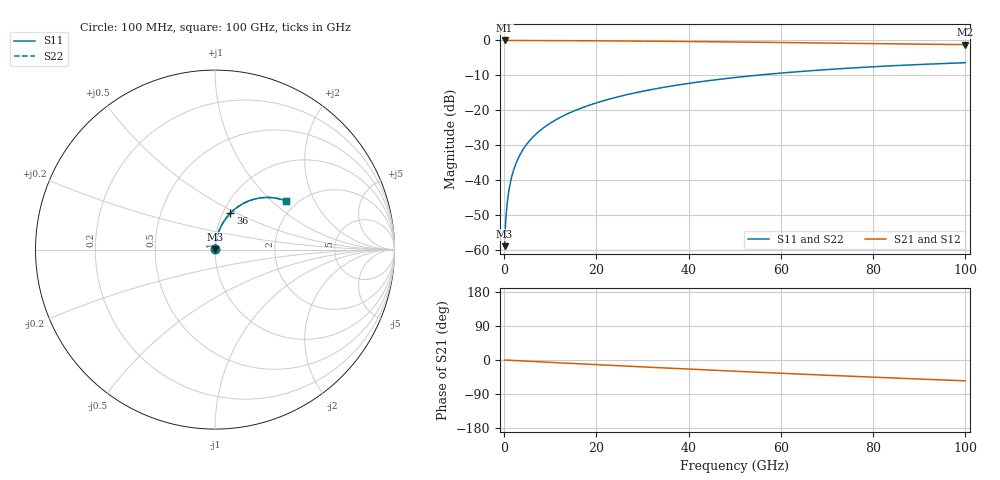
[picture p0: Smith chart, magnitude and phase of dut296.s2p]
! Touchstone file exported from HFSS 2026.1.0
!  File:  C:/ffzhzh/LocalFiles/Ansys_Project_Files/temp_train_RDL_296_1783502274_31944.aedt
!  Generated:  05:19:07 PM Jul  8, 2026
!  Design:  RDL
!  Project:  temp_train_RDL_296_1783502274_31944
! Variables:
!  h_bsmrdl = 2um
!  h_ox = 20um
!  h_rdl = 5um
!  h_sub = 80um
!  h_tmrdl = 4.17um
!  h_tsv = 80um
!  h_via = 3um
!  l_bsmrdl = 300um
!  l_sub = 545.97um
!  l_tmrdl = 145.97um
!  m_sub = 200um
!  pitch = 41.63um
!  r_tsv = 6um
!  s_tmrdl = 10um
!  w_bsmrdl = 18um
!  w_sub = 500um
!  w_tmrdl = 17.54um
!  x_tsv_center1 = 154.74um
!  x_tsv_center2 = 472.74um
!  x_tsv_center3 = 636.25um
!  x_tsv_center4 = 954.25um
!  x_tsv_center5 = 1117.76um
!  x_tsv_center6 = 1435.76um
# GHz S MA R 50.000000
! Terminal data exported
! Port[1] = TM_RDL1_1_T1
! Port[2] = TM_RDL1_1_T2
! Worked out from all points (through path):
!   1000 points, 100 MHz to 100 GHz, reference 50 ohm
!   highest |S21| = -0.01 dB at 100 MHz (marker M1); lowest = -1.2 dB at 100 GHz (marker M2)
!   group delay of S21, straight-line fit = 1.53 ps
!   lowest |S11| = -58.9 dB at 100 MHz (marker M3), VSWR 1.00, Z = 50.1 + j0.0727 ohm
!   |S11| at or under -10 dB: start of sweep to 54.6 GHz
!   |S22| runs from -58.9 to -6.4 dB; largest |S21 - S12| = 6.1e-15
!   S11 on the Smith chart (normalised r, x): 100 MHz: 1.00, +0.00; 36 GHz: 1.09, +0.46; 100 GHz: 1.76, +1.24
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0.1  0.001134 39.8  0.9991 -0.1  0.9991 -0.1  0.001134 39.8
! Gamma 0 0 0 0
! Port Impedance 50 0 50 0
0.3  0.002322 65.9  0.9991 -0.2  0.9991 -0.2  0.002322 65.9
0.7  0.004913 77.5  0.999 -0.4  0.999 -0.4  0.004913 77.5
0.9  0.00623 79.7  0.9989 -0.6  0.9989 -0.6  0.00623 79.7
1.2  0.008221 81.6  0.9989 -0.8  0.9989 -0.8  0.008221 81.6
1.5  0.01022 82.7  0.9988 -1.0  0.9988 -1.0  0.01022 82.7
2  0.01356 83.7  0.9987 -1.3  0.9987 -1.3  0.01356 83.7
2.5  0.01689 84.1  0.9986 -1.6  0.9986 -1.6  0.01689 84.1
3.2  0.02154 84.3  0.9984 -2.0  0.9984 -2.0  0.02154 84.3
4  0.02682 84.2  0.9981 -2.5  0.9981 -2.5  0.02682 84.2
5  0.03337 83.9  0.9977 -3.1  0.9977 -3.1  0.03337 83.9
6.1  0.04052 83.4  0.9972 -3.8  0.9972 -3.8  0.04052 83.4
8.9  0.05849 82.0  0.9958 -5.5  0.9958 -5.5  0.05849 82.0
12.4  0.08063 80.1  0.9937 -7.7  0.9937 -7.7  0.08063 80.1
16.8  0.108 77.8  0.9906 -10.3  0.9906 -10.3  0.108 77.7
24.2  0.1529 73.6  0.984 -14.8  0.984 -14.8  0.1529 73.6
33.4  0.2064 68.5  0.9735 -20.2  0.9735 -20.2  0.2064 68.4
36  0.2209 67.0  0.9702 -21.7  0.9702 -21.7  0.2209 67.0
50.1  0.2946 59.2  0.9498 -29.7  0.9498 -29.7  0.2946 59.2
66.7  0.3695 50.5  0.9229 -38.6  0.9229 -38.6  0.3695 50.4
83.4  0.4313 42.1  0.8955 -47.0  0.8955 -47.0  0.4313 42.1
100  0.4795 34.3  0.8706 -55.0  0.8706 -55.0  0.4795 34.3
